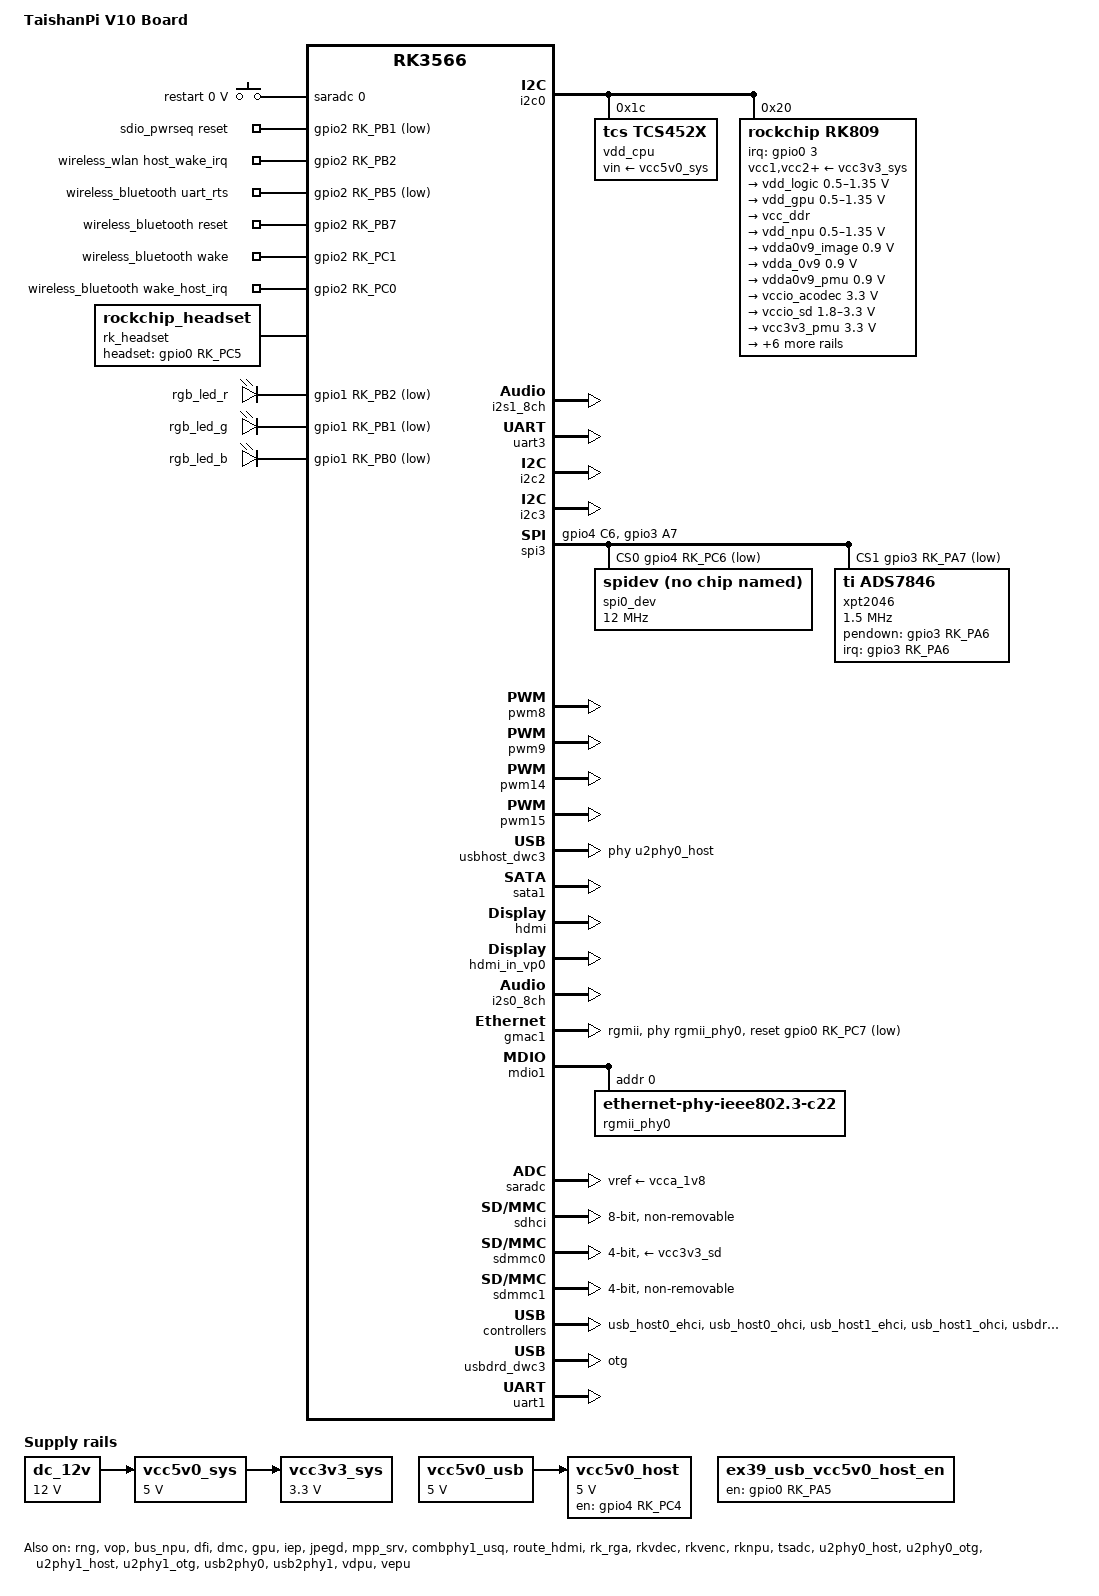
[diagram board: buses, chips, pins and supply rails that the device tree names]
// SPDX-License-Identifier: (GPL-2.0+ OR MIT)
/*
 * Copyright (c) 2020 Rockchip Electronics Co., Ltd.
 *
 */

/dts-v1/;

#include <dt-bindings/gpio/gpio.h>
#include <dt-bindings/display/media-bus-format.h>
#include <dt-bindings/pinctrl/rockchip.h>
#include <dt-bindings/display/rockchip_vop.h>
#include <dt-bindings/display/drm_mipi_dsi.h>
#include <dt-bindings/pwm/pwm.h>
#include <dt-bindings/input/rk-input.h>
#include <dt-bindings/sensor-dev.h>
#include "rk3566.dtsi"

/ {
	model = "TaishanPi V10 Board";
	compatible = "lckfb,tspi-v10", "rockchip,rk3566";

	fiq-debugger {
		compatible = "rockchip,fiq-debugger";
		rockchip,serial-id = <2>;
		rockchip,wake-irq = <0>;
		/* If enable uart uses irq instead of fiq */
		rockchip,irq-mode-enable = <1>;
		rockchip,baudrate = <1500000>;  /* Only 115200 and 1500000 */
		interrupts = <GIC_SPI 252 IRQ_TYPE_LEVEL_LOW>;
		pinctrl-names = "default";
		pinctrl-0 = <&uart2m0_xfer>;
		status = "okay";
	};

	debug: debug@fd904000 {
		compatible = "rockchip,debug";
		reg = <0x0 0xfd904000 0x0 0x1000>,
			<0x0 0xfd905000 0x0 0x1000>,
			<0x0 0xfd906000 0x0 0x1000>,
			<0x0 0xfd907000 0x0 0x1000>;
	};

	cspmu: cspmu@fd90c000 {
		compatible = "rockchip,cspmu";
		reg = <0x0 0xfd90c000 0x0 0x1000>,
			<0x0 0xfd90d000 0x0 0x1000>,
			<0x0 0xfd90e000 0x0 0x1000>,
			<0x0 0xfd90f000 0x0 0x1000>;
	};

	adc_keys: adc-keys {
		compatible = "adc-keys";
		io-channels = <&saradc 0>;
		io-channel-names = "buttons";
		keyup-threshold-microvolt = <1800000>;
		poll-interval = <100>;

		restart-key {
			label = "restart";
			linux,code = <KEY_RESTART>;
			press-threshold-microvolt = <108>;
		};
	};

	audiopwmout_diff: audiopwmout-diff {
		status = "disabled";
		compatible = "simple-audio-card";
		simple-audio-card,format = "i2s";
		simple-audio-card,name = "rockchip,audiopwmout-diff";
		simple-audio-card,mclk-fs = <256>;
		simple-audio-card,bitclock-master = <&master>;
		simple-audio-card,frame-master = <&master>;
		simple-audio-card,cpu {
			sound-dai = <&i2s3_2ch>;
		};
		master: simple-audio-card,codec {
			sound-dai = <&dig_acodec>;
		};
	};

	dc_12v: dc-12v {
		compatible = "regulator-fixed";
		regulator-name = "dc_12v";
		regulator-always-on;
		regulator-boot-on;
		regulator-min-microvolt = <12000000>;
		regulator-max-microvolt = <12000000>;
	};

	pdmics: dummy-codec {
		status = "disabled";
		compatible = "rockchip,dummy-codec";
		#sound-dai-cells = <0>;
	};

	pdm_mic_array: pdm-mic-array {
		status = "disabled";
		compatible = "simple-audio-card";
		simple-audio-card,name = "rockchip,pdm-mic-array";
		simple-audio-card,cpu {
			sound-dai = <&pdm>;
		};
		simple-audio-card,codec {
			sound-dai = <&pdmics>;
		};
	};

	rk809_sound: rk809-sound {
		status = "okay";
		compatible = "simple-audio-card";
		simple-audio-card,format = "i2s";
		simple-audio-card,name = "rockchip,rk809-codec";
		simple-audio-card,mclk-fs = <256>;

		simple-audio-card,cpu {
			sound-dai = <&i2s1_8ch>;
		};
		simple-audio-card,codec {
			sound-dai = <&rk809_codec>;
		};
	};

	spdif-sound {
		status = "disabled";
		compatible = "simple-audio-card";
		simple-audio-card,name = "ROCKCHIP,SPDIF";
		simple-audio-card,cpu {
				sound-dai = <&spdif_8ch>;
		};
		simple-audio-card,codec {
				sound-dai = <&spdif_out>;
		};
	};

	spdif_out: spdif-out {
			status = "disabled";
			compatible = "linux,spdif-dit";
			#sound-dai-cells = <0>;
	};

	vad_sound: vad-sound {
		status = "disabled";
		compatible = "rockchip,multicodecs-card";
		rockchip,card-name = "rockchip,rk3568-vad";
		rockchip,cpu = <&i2s1_8ch>;
		rockchip,codec = <&rk809_codec>, <&vad>;
	};

	vcc3v3_sys: vcc3v3-sys {
		compatible = "regulator-fixed";
		regulator-name = "vcc3v3_sys";
		regulator-always-on;
		regulator-boot-on;
		regulator-min-microvolt = <3300000>;
		regulator-max-microvolt = <3300000>;
		vin-supply = <&vcc5v0_sys>;
	};

	vcc5v0_sys: vcc5v0-sys {
		compatible = "regulator-fixed";
		regulator-name = "vcc5v0_sys";
		regulator-always-on;
		regulator-boot-on;
		regulator-min-microvolt = <5000000>;
		regulator-max-microvolt = <5000000>;
		vin-supply = <&dc_12v>;
	};

	vcc5v0_usb: vcc5v0-usb {
		compatible = "regulator-fixed";
		regulator-name = "vcc5v0_usb";
		regulator-always-on;
		regulator-boot-on;
		regulator-min-microvolt = <5000000>;
		regulator-max-microvolt = <5000000>;
	};

	vcc5v0_host: vcc5v0-host-regulator {
		compatible = "regulator-fixed";
		regulator-name = "vcc5v0_host";
		regulator-boot-on;
		regulator-always-on;
		regulator-min-microvolt = <5000000>;
		regulator-max-microvolt = <5000000>;
		enable-active-high;
		gpio = <&gpio4 RK_PC4 GPIO_ACTIVE_HIGH>;
		vin-supply = <&vcc5v0_usb>;
		pinctrl-names = "default";
		pinctrl-0 = <&vcc5v0_host_en>;
	};

	sdio_pwrseq: sdio-pwrseq {
		compatible = "mmc-pwrseq-simple";
		clocks = <&rk809 1>;
		clock-names = "ext_clock";
		pinctrl-names = "default";
		pinctrl-0 = <&wifi_enable_h>;

		/*
		 * On the module itself this is one of these (depending
		 * on the actual card populated):
		 * - SDIO_RESET_L_WL_REG_ON
		 * - PDN (power down when low)
		 */
		post-power-on-delay-ms = <200>;
		reset-gpios = <&gpio2 RK_PB1 GPIO_ACTIVE_LOW>;
	};

	wireless_wlan: wireless-wlan {
		compatible = "wlan-platdata";
		pinctrl-names = "default";
		pinctrl-0 = <&wifi_host_wake_irq>;
		WIFI,host_wake_irq = <&gpio2 RK_PB2 GPIO_ACTIVE_HIGH>;
		rockchip,grf = <&grf>;
		wifi_chip_type = "ap6212";
		status = "okay";
	};

	wireless_bluetooth: wireless-bluetooth {
		compatible = "bluetooth-platdata";
		clocks = <&rk809 1>;
		clock-names = "ext_clock";
		//wifi-bt-power-toggle;
		uart_rts_gpios = <&gpio2 RK_PB5 GPIO_ACTIVE_LOW>;
		pinctrl-names = "default", "rts_gpio";
		pinctrl-0 = <&uart1m0_rtsn>;
		pinctrl-1 = <&uart1_gpios>;
		BT,reset_gpio    = <&gpio2 RK_PB7 GPIO_ACTIVE_HIGH>;
		BT,wake_gpio     = <&gpio2 RK_PC1 GPIO_ACTIVE_HIGH>;
		BT,wake_host_irq = <&gpio2 RK_PC0 GPIO_ACTIVE_HIGH>;
		status = "okay";
	};

	test-power {
		status = "okay";
	};

	rk_headset: rk-headset {
		compatible = "rockchip_headset";
		headset_gpio = <&gpio0 RK_PC5 GPIO_ACTIVE_HIGH>;
		pinctrl-names = "default";
		pinctrl-0 = <&hp_det>;
	};

	leds: leds {
		compatible = "gpio-leds";
		rgb_led_r: rgb-led-r {
			gpios = <&gpio1 RK_PB2 GPIO_ACTIVE_LOW>;
			linux,default-trigger = "timer";
			linux,delay-reg = <0>;
			linux,blink-delay-on = <500>;
			linux,blink-delay-off = <500>;
		};
		rgb_led_g: rgb-led-g {
			gpios = <&gpio1 RK_PB1 GPIO_ACTIVE_LOW>;
			linux,default-trigger = "timer";
			linux,delay-reg = <100>;
			linux,blink-delay-on = <1000>; 
			linux,blink-delay-off = <1000>;
		};
		rgb_led_b: rgb-led-b {
			gpios = <&gpio1 RK_PB0 GPIO_ACTIVE_LOW>;
			linux,default-trigger = "timer";
			linux,delay-reg = <100>;
			linux,blink-delay-on = <1500>; 
			linux,blink-delay-off = <1500>;
		};
	};

	ex39-usb-vcc5v0-host-en {
		compatible = "regulator-fixed";
		enable-active-high;
		gpio = <&gpio0 RK_PA5 GPIO_ACTIVE_HIGH>;
		pinctrl-names = "default";
		pinctrl-0 = <&ex39_usb_vcc5v0_host_en>;
		regulator-name = "ex39_usb_vcc5v0_host_en";
		regulator-always-on;
	};

	hdmi_sound: hdmi-sound {
		compatible = "simple-audio-card";
		simple-audio-card,format = "i2s";
		simple-audio-card,mclk-fs = <128>;
		simple-audio-card,name = "rockchip,hdmi";
		status = "disabled";

		simple-audio-card,cpu {
				sound-dai = <&i2s0_8ch>;
		};
		simple-audio-card,codec {
				sound-dai = <&hdmi>;
		};
	};

};

&reserved_memory {
	ramoops: ramoops@110000 {
		compatible = "ramoops";
		reg = <0x0 0x110000 0x0 0xf0000>;
		record-size = <0x20000>;
		console-size = <0x80000>;
		ftrace-size = <0x00000>;
		pmsg-size = <0x50000>;
	};
};

&rng {
	status = "okay";
};


&rockchip_suspend {
	status = "okay";
};

&vop {
	disable-win-move;
};

&vp0 {
	cursor-win-id = <ROCKCHIP_VOP2_ESMART0>;
};

&vp1 {
	cursor-win-id = <ROCKCHIP_VOP2_ESMART1>;
};

&bus_npu {
	bus-supply = <&vdd_logic>;
	pvtm-supply = <&vdd_cpu>;
	status = "okay";
};


&can0 {
	assigned-clocks = <&cru CLK_CAN0>;
	assigned-clock-rates = <150000000>;
	pinctrl-names = "default";
	pinctrl-0 = <&can0m1_pins>;
	status = "disabled";
};

&can1 {
	assigned-clocks = <&cru CLK_CAN1>;
	assigned-clock-rates = <150000000>;
	pinctrl-names = "default";
	pinctrl-0 = <&can1m1_pins>;
	status = "disabled";
};

&can2 {
	assigned-clocks = <&cru CLK_CAN2>;
	assigned-clock-rates = <150000000>;
	pinctrl-names = "default";
	pinctrl-0 = <&can2m1_pins>;
	status = "disabled";
};


&cpu0 {
	cpu-supply = <&vdd_cpu>;
};


&dfi {
	status = "okay";
};


&dmc {
	center-supply = <&vdd_logic>;
	status = "okay";
};


&gpu {
	mali-supply = <&vdd_gpu>;
	status = "okay";
};


&i2c0 {
	status = "okay";

	vdd_cpu: tcs4525@1c {
		compatible = "tcs,tcs452x";
		reg = <0x1c>;
		vin-supply = <&vcc5v0_sys>;
		regulator-compatible = "fan53555-reg";
		regulator-name = "vdd_cpu";
		regulator-min-microvolt = <712500>;
		regulator-max-microvolt = <1390000>;
		regulator-init-microvolt = <900000>;
		regulator-ramp-delay = <2300>;
		fcs,suspend-voltage-selector = <1>;
		regulator-boot-on;
		regulator-always-on;
		regulator-state-mem {
			regulator-off-in-suspend;
		};
	};

	rk809: pmic@20 {
		compatible = "rockchip,rk809";
		reg = <0x20>;
		interrupt-parent = <&gpio0>;
		interrupts = <3 IRQ_TYPE_LEVEL_LOW>;

		pinctrl-names = "default", "pmic-sleep",
				"pmic-power-off", "pmic-reset";
		pinctrl-0 = <&pmic_int>;
		pinctrl-1 = <&soc_slppin_slp>, <&rk817_slppin_slp>;
		pinctrl-2 = <&soc_slppin_gpio>, <&rk817_slppin_pwrdn>;
		pinctrl-3 = <&soc_slppin_gpio>, <&rk817_slppin_rst>;

		rockchip,system-power-controller;
		wakeup-source;
		#clock-cells = <1>;
		clock-output-names = "rk808-clkout1", "rk808-clkout2";
		//fb-inner-reg-idxs = <2>;
		/* 1: rst regs (default in codes), 0: rst the pmic */
		pmic-reset-func = <0>;
		/* not save the PMIC_POWER_EN register in uboot */
		not-save-power-en = <1>;

		vcc1-supply = <&vcc3v3_sys>;
		vcc2-supply = <&vcc3v3_sys>;
		vcc3-supply = <&vcc3v3_sys>;
		vcc4-supply = <&vcc3v3_sys>;
		vcc5-supply = <&vcc3v3_sys>;
		vcc6-supply = <&vcc3v3_sys>;
		vcc7-supply = <&vcc3v3_sys>;
		vcc8-supply = <&vcc3v3_sys>;
		vcc9-supply = <&vcc3v3_sys>;

		pwrkey {
			status = "okay";
		};

		pinctrl_rk8xx: pinctrl_rk8xx {
			gpio-controller;
			#gpio-cells = <2>;

			rk817_slppin_null: rk817_slppin_null {
				pins = "gpio_slp";
				function = "pin_fun0";
			};

			rk817_slppin_slp: rk817_slppin_slp {
				pins = "gpio_slp";
				function = "pin_fun1";
			};

			rk817_slppin_pwrdn: rk817_slppin_pwrdn {
				pins = "gpio_slp";
				function = "pin_fun2";
			};

			rk817_slppin_rst: rk817_slppin_rst {
				pins = "gpio_slp";
				function = "pin_fun3";
			};
		};

		regulators {
			vdd_logic: DCDC_REG1 {
				regulator-always-on;
				regulator-boot-on;
				regulator-min-microvolt = <500000>;
				regulator-max-microvolt = <1350000>;
				regulator-init-microvolt = <900000>;
				regulator-ramp-delay = <6001>;
				regulator-initial-mode = <0x2>;
				regulator-name = "vdd_logic";
				regulator-state-mem {
					regulator-off-in-suspend;
				};
			};

			vdd_gpu: DCDC_REG2 {
				regulator-always-on;
				regulator-boot-on;
				regulator-min-microvolt = <500000>;
				regulator-max-microvolt = <1350000>;
				regulator-init-microvolt = <900000>;
				regulator-ramp-delay = <6001>;
				regulator-initial-mode = <0x2>;
				regulator-name = "vdd_gpu";
				regulator-state-mem {
					regulator-off-in-suspend;
				};
			};

			vcc_ddr: DCDC_REG3 {
				regulator-always-on;
				regulator-boot-on;
				regulator-initial-mode = <0x2>;
				regulator-name = "vcc_ddr";
				regulator-state-mem {
					regulator-on-in-suspend;
				};
			};

			vdd_npu: DCDC_REG4 {
				regulator-always-on;
				regulator-boot-on;
				regulator-min-microvolt = <500000>;
				regulator-max-microvolt = <1350000>;
				regulator-init-microvolt = <900000>;
				regulator-ramp-delay = <6001>;
				regulator-initial-mode = <0x2>;
				regulator-name = "vdd_npu";
				regulator-state-mem {
					regulator-off-in-suspend;
				};
			};

			vdda0v9_image: LDO_REG1 {
				regulator-boot-on;
				regulator-always-on;
				regulator-min-microvolt = <900000>;
				regulator-max-microvolt = <900000>;
				regulator-name = "vdda0v9_image";
				regulator-state-mem {
					regulator-off-in-suspend;
				};
			};

			vdda_0v9: LDO_REG2 {
				regulator-always-on;
				regulator-boot-on;
				regulator-min-microvolt = <900000>;
				regulator-max-microvolt = <900000>;
				regulator-name = "vdda_0v9";
				regulator-state-mem {
					regulator-off-in-suspend;
				};
			};

			vdda0v9_pmu: LDO_REG3 {
				regulator-always-on;
				regulator-boot-on;
				regulator-min-microvolt = <900000>;
				regulator-max-microvolt = <900000>;
				regulator-name = "vdda0v9_pmu";
				regulator-state-mem {
					regulator-on-in-suspend;
					regulator-suspend-microvolt = <900000>;
				};
			};

			vccio_acodec: LDO_REG4 {
				regulator-always-on;
				regulator-boot-on;
				regulator-min-microvolt = <3300000>;
				regulator-max-microvolt = <3300000>;
				regulator-name = "vccio_acodec";
				regulator-state-mem {
					regulator-off-in-suspend;
				};
			};

			vccio_sd: LDO_REG5 {
				regulator-always-on;
				regulator-boot-on;
				regulator-min-microvolt = <1800000>;
				regulator-max-microvolt = <3300000>;
				regulator-name = "vccio_sd";
				regulator-state-mem {
					regulator-off-in-suspend;
				};
			};

			vcc3v3_pmu: LDO_REG6 {
				regulator-always-on;
				regulator-boot-on;
				regulator-min-microvolt = <3300000>;
				regulator-max-microvolt = <3300000>;
				regulator-name = "vcc3v3_pmu";
				regulator-state-mem {
					regulator-on-in-suspend;
					regulator-suspend-microvolt = <3300000>;
				};
			};

			vcca_1v8: LDO_REG7 {
				regulator-always-on;
				regulator-boot-on;
				regulator-min-microvolt = <1800000>;
				regulator-max-microvolt = <1800000>;
				regulator-name = "vcca_1v8";
				regulator-state-mem {
					regulator-off-in-suspend;
				};
			};

			vcca1v8_pmu: LDO_REG8 {
				regulator-always-on;
				regulator-boot-on;
				regulator-min-microvolt = <1800000>;
				regulator-max-microvolt = <1800000>;
				regulator-name = "vcca1v8_pmu";
				regulator-state-mem {
					regulator-on-in-suspend;
					regulator-suspend-microvolt = <1800000>;
				};
			};

			vcca1v8_image: LDO_REG9 {
				regulator-always-on;
				regulator-boot-on;
				regulator-min-microvolt = <1800000>;
				regulator-max-microvolt = <1800000>;
				regulator-name = "vcca1v8_image";
				regulator-state-mem {
					regulator-off-in-suspend;
				};
			};

			vcc_1v8: DCDC_REG5 {
				regulator-always-on;
				regulator-boot-on;
				regulator-min-microvolt = <1800000>;
				regulator-max-microvolt = <1800000>;
				regulator-name = "vcc_1v8";
				regulator-state-mem {
					regulator-off-in-suspend;
				};
			};

			vcc_3v3: SWITCH_REG1 {
				regulator-always-on;
				regulator-boot-on;
				regulator-name = "vcc_3v3";
				regulator-state-mem {
					regulator-off-in-suspend;
				};
			};

			vcc3v3_sd: SWITCH_REG2 {
				regulator-always-on;
				regulator-boot-on;
				regulator-name = "vcc3v3_sd";
				regulator-state-mem {
					regulator-off-in-suspend;
				};
			};
		};

		rk809_codec: codec {
			#sound-dai-cells = <0>;
			compatible = "rockchip,rk809-codec", "rockchip,rk817-codec";
			clocks = <&cru I2S1_MCLKOUT>;
			clock-names = "mclk";
			assigned-clocks = <&cru I2S1_MCLKOUT>, <&cru I2S1_MCLK_TX_IOE>;
			assigned-clock-rates = <12288000>;
			assigned-clock-parents = <&cru I2S1_MCLKOUT_TX>, <&cru I2S1_MCLKOUT_TX>;
			pinctrl-names = "default";
			pinctrl-0 = <&i2s1m0_mclk>;
			hp-volume = <20>;
			spk-volume = <3>;
			mic-in-differential;
			status = "okay";
		};
	};
};

&i2s1_8ch {
	status = "okay";
	rockchip,clk-trcm = <1>;
	pinctrl-names = "default";
	pinctrl-0 = <&i2s1m0_sclktx
		     &i2s1m0_lrcktx
		     &i2s1m0_sdi0
		     &i2s1m0_sdo0>;
};

&iep {
	status = "okay";
};

&iep_mmu {
	status = "okay";
};

&jpegd {
	status = "okay";
};

&jpegd_mmu {
	status = "okay";
};

&mpp_srv {
	status = "okay";
};

&pinctrl {

	pmic {
		pmic_int: pmic_int {
			rockchip,pins =
				<0 RK_PA3 RK_FUNC_GPIO &pcfg_pull_up>;
		};

		soc_slppin_gpio: soc_slppin_gpio {
			rockchip,pins =
				<0 RK_PA2 RK_FUNC_GPIO &pcfg_output_low_pull_down>;
		};

		soc_slppin_slp: soc_slppin_slp {
			rockchip,pins =
				<0 RK_PA2 1 &pcfg_pull_up>;
		};

		soc_slppin_rst: soc_slppin_rst {
			rockchip,pins =
				<0 RK_PA2 2 &pcfg_pull_none>;
		};
	};

	usb {
		vcc5v0_host_en: vcc5v0-host-en {
			rockchip,pins = <4 RK_PC4 RK_FUNC_GPIO &pcfg_pull_none>;
		};
	};

	sdio-pwrseq {
		wifi_enable_h: wifi-enable-h {
			rockchip,pins = <2 RK_PB1 RK_FUNC_GPIO &pcfg_pull_none>;
		};
	};

	wireless-wlan {
		wifi_host_wake_irq: wifi-host-wake-irq {
			rockchip,pins = <2 RK_PB2 RK_FUNC_GPIO &pcfg_pull_down>;
		};
	};

	wireless-bluetooth {
		uart1_gpios: uart1-gpios {
			rockchip,pins = <2 RK_PB5 RK_FUNC_GPIO &pcfg_pull_none>;
		};
	};

	headphone {
		hp_det: hp-det {
			rockchip,pins = <0 RK_PC5 RK_FUNC_GPIO &pcfg_pull_none>;
		};
	};

	xpt2046-touchscreen {
		xpt2046_int_pin: xpt2046-int-pin {
			rockchip,pins = <3 RK_PA5 RK_FUNC_GPIO &pcfg_pull_none>;
		};
	};

	spi3 {
		spi3_cs0n: spi3-cs0n {
			rockchip,pins = <4 RK_PC6 RK_FUNC_GPIO &pcfg_pull_up_drv_level_2>;
		};

		spi3_cs1n: spi3-cs1n {
			rockchip,pins = <3 RK_PA7 RK_FUNC_GPIO &pcfg_pull_up_drv_level_2>;
		};
	};

	ex39_usb {
		ex39_usb_vcc5v0_host_en: ex39-usb-vcc5v0-host-en {
			rockchip,pins = <0 RK_PA5 RK_FUNC_GPIO &pcfg_pull_none>;
		};
	};
};

&leds {
	status = "okay";
};

&uart3 {
	status = "okay";
	pinctrl-names = "default";
	pinctrl-0 = <&uart3m1_xfer>;
};

&i2c2 {
	status = "okay";
};

&i2c3 {
	status = "okay";
	pinctrl-names = "default";
	pinctrl-0 = <&i2c3m1_xfer>;
};


&spi3 {
	status = "okay";
	max-freq = <48000000>;
	dma-names = "tx","rx";
	pinctrl-names = "default", "high_speed";
	pinctrl-0 = <&spi3_cs0n &spi3_cs1n &spi3m1_pins>;
	pinctrl-1 = <&spi3_cs0n &spi3_cs1n &spi3m1_pins_hs>;
	cs-gpios = <&gpio4 RK_PC6 GPIO_ACTIVE_LOW>, <&gpio3 RK_PA7 GPIO_ACTIVE_LOW>;
    
	spi0_dev@0 {
        compatible = "rockchip,spidev";
        reg = <0>;
        spi-max-frequency = <12000000>;
        spi-lsb-first;
		status = "okay";
    };

	xpt2046@1 {
		pinctrl-names = "default";
		pinctrl-0 = <&xpt2046_int_pin>;
		reg = <1>;
		compatible = "ti,ads7846";
		interrupt-parent = <&gpio3>;
		interrupts = <RK_PA6 0>;
		spi-max-frequency = <1500000>;
		pendown-gpio = <&gpio3 RK_PA6 0>;
		ti,x-min = /bits/ 16 <0>;
		ti,x-max = /bits/ 16 <0xfff>;
		ti,y-min = /bits/ 16 <0>;
		ti,y-max = /bits/ 16 <0xfff>;
		ti,x-plate-ohms = /bits/ 16 <180>;
		ti,pressure-max = /bits/ 16 <512>;
		ti,debounce-max = /bits/ 16 <10>;
		ti,debounce-tol = /bits/ 16 <30>;
		ti,debounce-rep = /bits/ 16 <1>;
		ti,settle-delay-usec = /bits/ 16 <150>;
		ti,keep-vref-on = <1>;
		/*
		 * Do not set to wakeup source,
		 * cause TL3568-EVM board will make xpt2046
		 * int pin level change when suspend, this
		 * will auto resume TL3568-EVM board.
		 */
		/delete-property/ linux,wakeup;
		/delete-property/ wakeup-source;
	};
};

&pwm8 {
	status = "okay";
};

&pwm9 {
	status = "okay";
};

&pwm14 {
	status = "okay";
};

&pwm15 {
	status = "okay";
	compatible = "rockchip,remotectl-pwm";
	remote_pwm_id = <3>;
	handle_cpu_id = <1>;
	remote_support_psci = <0>;
	pinctrl-names = "default";
	pinctrl-0 = <&pwm15m0_pins>;

	//how to：dmesg usercode=address&key_table=command
	//echo 1 > sys/module/rockchip_pwm_remotectl/parameters/code_print
	//find in include/dt-bindings/input/linux-event-codes.h
	ir_key1 {
		rockchip,usercode = <0xff00>;
		rockchip,key_table =
			<0xf2	KEY_MENU>,
			<0xe9	KEY_BACK>,
			<0xe3	KEY_ENTER>,
			<0xe7	KEY_UP>,
			<0xad	KEY_DOWN>,
			<0xf7	KEY_LEFT>,
			<0xa5	KEY_RIGHT>,
			<0xba	KEY_1>,
			<0xb9	KEY_2>,
			<0xb8	KEY_3>,
			<0xbb	KEY_4>,
			<0xbf	KEY_5>,
			<0xbc	KEY_6>,
			<0xf8	KEY_7>,
			<0xea	KEY_8>,
			<0xf6	KEY_9>,
			<0xe6	KEY_0>;
	};
};

&usbhost_dwc3 {
	phys = <&u2phy0_host>; 
	phy-names = "usb2-phy";
	maximum-speed = "high-speed"; 
	status = "okay";
};
&combphy1_usq {
	rockchip,dis-u3otg1-port; 
	status = "okay";
};

&sata1 {
	rockchip,enable-ssc;
	status = "okay";
};

&rk_headset {
	status = "okay";
};

&hdmi {
	status = "okay";
	rockchip,phy-table =
		<92812500  0x8009 0x0000 0x0270>,
		<165000000 0x800b 0x0000 0x026d>,
		<185625000 0x800b 0x0000 0x01ed>,
		<297000000 0x800b 0x0000 0x01ad>,
		<594000000 0x8029 0x0000 0x0088>,
		<000000000 0x0000 0x0000 0x0000>;
};

&hdmi_in_vp0 {
	status = "okay";
};

&hdmi_in_vp1 {
	status = "disabled";
};

&hdmi_sound {
	status = "okay";
};

&i2s0_8ch {
	status = "okay";
};

&route_hdmi {
	status = "okay";
	connect = <&vp0_out_hdmi>;
};

&gmac1 {
	phy-mode = "rgmii";
	clock_in_out = "output";

	snps,reset-gpio = <&gpio0 RK_PC7 GPIO_ACTIVE_LOW>;
	snps,reset-active-low;
	/* Reset time is 20ms, 100ms for rtl8211f */
	snps,reset-delays-us = <0 20000 100000>;

	assigned-clocks = <&cru SCLK_GMAC1_RX_TX>, <&cru SCLK_GMAC1>;
	assigned-clock-parents = <&cru SCLK_GMAC1_RGMII_SPEED>, <&cru CLK_MAC1_2TOP>;
	assigned-clock-rates = <0>, <125000000>;

	pinctrl-names = "default";
	pinctrl-0 = <&gmac1m1_miim
		     &gmac1m1_tx_bus2
		     &gmac1m1_rx_bus2
		     &gmac1m1_rgmii_clk
		     &gmac1m1_rgmii_bus>;

	tx_delay = <0x4f>;
	rx_delay = <0x25>;

	phy-handle = <&rgmii_phy0>;
	status = "okay";
};

&mdio1 {
	rgmii_phy0: phy@0 {
		compatible = "ethernet-phy-ieee802.3-c22";
		reg = <0x0>;
	};
};

&pmu_io_domains {
	status = "okay";
	pmuio2-supply = <&vcc3v3_pmu>;
	vccio1-supply = <&vccio_acodec>;
	vccio3-supply = <&vccio_sd>;
	vccio4-supply = <&vcc_1v8>;//wucaicheng wifi VCCIO_WL 0¦¸=1V8
	vccio5-supply = <&vcc_3v3>;
	vccio6-supply = <&vcc_1v8>;//wucaicheng PHY  0¦¸=1V8
	vccio7-supply = <&vcc_3v3>;
};

&rk_rga {
	status = "okay";
};

&rkvdec {
	status = "okay";
};

&rkvdec_mmu {
	status = "okay";
};

&rkvenc {
	venc-supply = <&vdd_logic>;
	status = "okay";
};

&rkvenc_mmu {
	status = "okay";
};

&rknpu {
	rknpu-supply = <&vdd_npu>;
	status = "okay";
};

&rknpu_mmu {
	status = "okay";
};

&saradc {
	status = "okay";
	vref-supply = <&vcca_1v8>;
};

&sdhci {
	bus-width = <8>;
	supports-emmc;
	non-removable;
	max-frequency = <200000000>;
	status = "okay";
};

&nandc0 {
	#address-cells = <1>;
	#size-cells = <0>;
	status = "disabled";

	nand@0 {
		reg = <0>;
		nand-bus-width = <8>;
		nand-ecc-mode = "hw";
		nand-ecc-strength = <16>;
		nand-ecc-step-size = <1024>;
	};
};

&sfc {
	status = "disabled";
};

&sdmmc0 {
	max-frequency = <150000000>;
	supports-sd;
	bus-width = <4>;
	cap-mmc-highspeed;
	cap-sd-highspeed;
	disable-wp;
	sd-uhs-sdr104;
	vmmc-supply = <&vcc3v3_sd>;
	vqmmc-supply = <&vccio_sd>;
	pinctrl-names = "default";
	pinctrl-0 = <&sdmmc0_bus4 &sdmmc0_clk &sdmmc0_cmd &sdmmc0_det>;
	status = "okay";
};

&sdmmc1 {
	max-frequency = <150000000>;
	supports-sdio;
	bus-width = <4>;
	disable-wp;
	cap-sd-highspeed;
	cap-sdio-irq;
	keep-power-in-suspend;
	mmc-pwrseq = <&sdio_pwrseq>;
	non-removable;
	pinctrl-names = "default";
	pinctrl-0 = <&sdmmc1_bus4 &sdmmc1_cmd &sdmmc1_clk>;
	sd-uhs-sdr104;
	status = "okay";
};

&sdmmc2 {
	status = "disabled";
};

&spdif_8ch {
	status = "disabled";
};

&tsadc {
	status = "okay";
};

&u2phy0_host {
	phy-supply = <&vcc5v0_host>;
	status = "okay";
};

&u2phy0_otg {
	status = "okay";
};

&u2phy1_host {
	phy-supply = <&vcc5v0_host>;
	status = "okay";
};

&u2phy1_otg {
	phy-supply = <&vcc5v0_host>;
	status = "okay";
};

&usb2phy0 {
	status = "okay";
};

&usb2phy1 {
	status = "okay";
};

&usb_host0_ehci {
	status = "okay";
};

&usb_host0_ohci {
	status = "okay";
};

&usb_host1_ehci {
	status = "okay";
};

&usb_host1_ohci {
	status = "okay";
};

&usbdrd_dwc3 {
	dr_mode = "otg";
	extcon = <&usb2phy0>;
	status = "okay";
};

&usbdrd30 {
	status = "okay";
};

&usbhost_dwc3 {
	status = "okay";
};

&usbhost30 {
	status = "okay";
};

&vad {
	rockchip,audio-src = <&i2s1_8ch>;
	rockchip,buffer-time-ms = <128>;
	rockchip,det-channel = <0>;
	rockchip,mode = <0>;
};

&vdpu {
	status = "okay";
};

&vdpu_mmu {
	status = "okay";
};

&vepu {
	status = "okay";
};

&vepu_mmu {
	status = "okay";
};

&vop {
	status = "okay";
	assigned-clocks = <&cru DCLK_VOP0>, <&cru DCLK_VOP1>;
	assigned-clock-parents = <&pmucru PLL_HPLL>, <&cru PLL_VPLL>;
};

&vop_mmu {
	status = "okay";
};

&uart1 {
	status = "okay";
	pinctrl-names = "default";
	pinctrl-0 = <&uart1m0_xfer &uart1m0_ctsn>;
};
